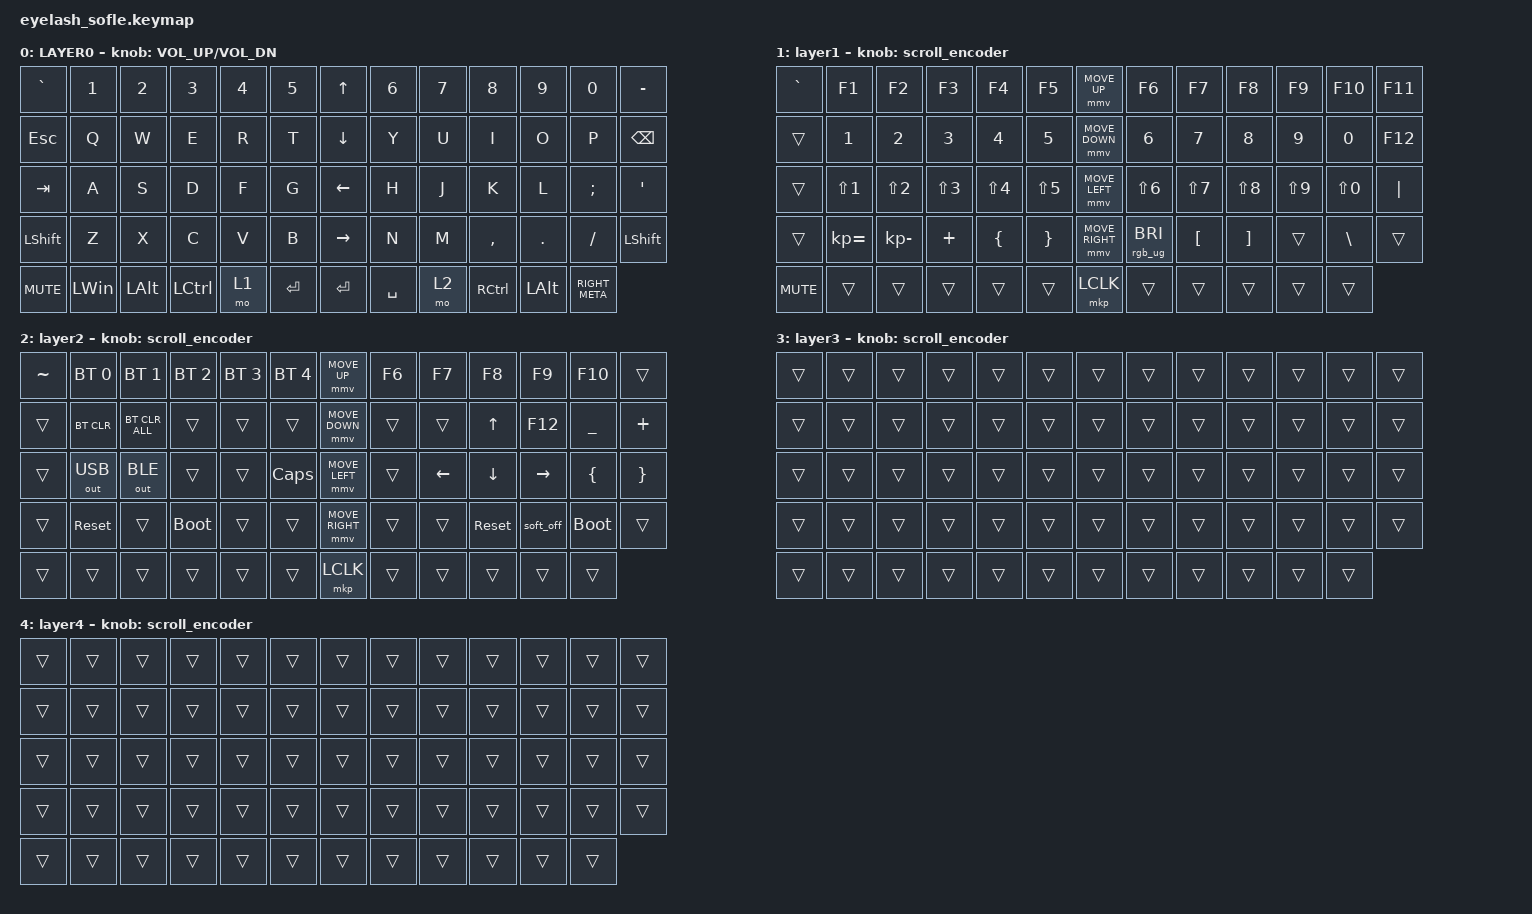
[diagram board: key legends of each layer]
#define ZMK_POINTING_DEFAULT_MOVE_VAL 1200  // 600
#define ZMK_POINTING_DEFAULT_SCRL_VAL 25   // 10

#include <input/processors.dtsi>
#include <zephyr/dt-bindings/input/input-event-codes.h>
#include <behaviors.dtsi>
#include <dt-bindings/zmk/bt.h>
#include <dt-bindings/zmk/keys.h>
#include <dt-bindings/zmk/outputs.h>
#include <dt-bindings/zmk/pointing.h>
#include <dt-bindings/zmk/rgb.h>

&mmv_input_listener { input-processors = <&zip_xy_scaler 2 1>; };

&msc_input_listener { input-processors = <&zip_scroll_scaler 2 1>; };

&msc {
    acceleration-exponent = <1>;      // 0
    time-to-max-speed-ms = <100>;       // 300
    delay-ms = <0>;                   // 0
};

&mmv {
    time-to-max-speed-ms = <500>;
    acceleration-exponent = <1>;
    trigger-period-ms = <16>;
};

&soft_off { hold-time-ms = <2000>; };

/ {
    scroll_encoder: scroll_encoder {
        compatible = "zmk,behavior-sensor-rotate";
        #sensor-binding-cells = <0>;
        bindings = <&msc SCRL_DOWN>, <&msc SCRL_UP>;

        tap-ms = <100>;
    };

    behaviors {
    };

    combos {
        compatible = "zmk,combos";

        softoff {
            bindings = <&soft_off>;
            key-positions = <14 28 40>;
        };
    };

    keymap {
        compatible = "zmk,keymap";

        layer0 {
            bindings = <
&kp GRAVE   &kp N1        &kp N2        &kp N3            &kp N4  &kp N5       &kp UP_ARROW     &kp N6     &kp N7  &kp N8             &kp N9        &kp N0          &kp MINUS
&kp ESCAPE  &kp Q         &kp W         &kp E             &kp R   &kp T        &kp DOWN_ARROW   &kp Y      &kp U   &kp I              &kp O         &kp P           &kp BACKSPACE
&kp TAB     &kp A         &kp S         &kp D             &kp F   &kp G        &kp LEFT_ARROW   &kp H      &kp J   &kp K              &kp L         &kp SEMI        &kp APOS
&kp LSHFT   &kp Z         &kp X         &kp C             &kp V   &kp B        &kp RIGHT_ARROW  &kp N      &kp M   &kp COMMA          &kp DOT       &kp FSLH        &kp LEFT_SHIFT
&kp C_MUTE  &kp LEFT_WIN  &kp LEFT_ALT  &kp LEFT_CONTROL  &mo 1   &kp ENTER    &kp ENTER        &kp SPACE  &mo 2   &kp RIGHT_CONTROL  &kp LEFT_ALT  &kp RIGHT_META
            >;

            sensor-bindings = <&inc_dec_kp C_VOLUME_UP C_VOL_DN>;
            display-name = "LAYER0";
        };

        layer_1 {
            bindings = <
&kp GRAVE   &kp F1            &kp F2            &kp F3            &kp F4            &kp F5              &mmv MOVE_UP     &kp F6            &kp F7            &kp F8             &kp F9            &kp F10           &kp F11
&trans      &kp NUMBER_1      &kp NUMBER_2      &kp NUMBER_3      &kp NUMBER_4      &kp NUMBER_5        &mmv MOVE_DOWN   &kp NUMBER_6      &kp NUMBER_7      &kp NUMBER_8       &kp NUMBER_9      &kp NUMBER_0      &kp F12
&trans      &kp LS(NUMBER_1)  &kp LS(NUMBER_2)  &kp LS(NUMBER_3)  &kp LS(NUMBER_4)  &kp LS(NUMBER_5)    &mmv MOVE_LEFT   &kp LS(NUMBER_6)  &kp LS(NUMBER_7)  &kp LS(NUMBER_8)   &kp LS(NUMBER_9)  &kp LS(NUMBER_0)  &kp PIPE
&trans      &kp KP_EQUAL      &kp KP_SUBTRACT   &kp PLUS          &kp LEFT_BRACE    &kp RIGHT_BRACE     &mmv MOVE_RIGHT  &rgb_ug RGB_BRI   &kp LEFT_BRACKET  &kp RIGHT_BRACKET  &trans            &kp BACKSLASH     &trans
&kp C_MUTE  &trans            &trans            &trans            &trans            &trans              &mkp LCLK        &trans            &trans            &trans             &trans            &trans
            >;

            display-name = "layer1";
            sensor-bindings = <&scroll_encoder>;
        };

        layer_2 {
            bindings = <
&kp TILDE  &bt BT_SEL 0  &bt BT_SEL 1    &bt BT_SEL 2  &bt BT_SEL 3  &bt BT_SEL 4    &mmv MOVE_UP     &kp F6  &kp F7          &kp F8          &kp F9           &kp F10      &trans
&trans     &bt BT_CLR    &bt BT_CLR_ALL  &trans        &trans        &trans          &mmv MOVE_DOWN   &trans  &trans          &kp UP_ARROW    &kp F12          &kp UNDER    &kp PLUS
&trans     &out OUT_USB  &out OUT_BLE    &trans        &trans        &kp CAPSLOCK    &mmv MOVE_LEFT   &trans  &kp LEFT_ARROW  &kp DOWN_ARROW  &kp RIGHT_ARROW  &kp LBRC     &kp RBRC
&trans     &sys_reset    &trans          &bootloader   &trans        &trans          &mmv MOVE_RIGHT  &trans  &trans          &sys_reset      &soft_off        &bootloader  &trans
&trans     &trans        &trans          &trans        &trans        &trans          &mkp LCLK        &trans  &trans          &trans          &trans           &trans
            >;

            display-name = "layer2";
            sensor-bindings = <&scroll_encoder>;
        };

        layer_3 {
            bindings = <
&trans  &trans  &trans  &trans  &trans  &trans    &trans  &trans  &trans  &trans  &trans  &trans  &trans
&trans  &trans  &trans  &trans  &trans  &trans    &trans  &trans  &trans  &trans  &trans  &trans  &trans
&trans  &trans  &trans  &trans  &trans  &trans    &trans  &trans  &trans  &trans  &trans  &trans  &trans
&trans  &trans  &trans  &trans  &trans  &trans    &trans  &trans  &trans  &trans  &trans  &trans  &trans
&trans  &trans  &trans  &trans  &trans  &trans    &trans  &trans  &trans  &trans  &trans  &trans
            >;

            display-name = "layer3";
            sensor-bindings = <&scroll_encoder>;
        };

        layer_4 {
            bindings = <
&trans  &trans  &trans  &trans  &trans  &trans    &trans  &trans  &trans  &trans  &trans  &trans  &trans
&trans  &trans  &trans  &trans  &trans  &trans    &trans  &trans  &trans  &trans  &trans  &trans  &trans
&trans  &trans  &trans  &trans  &trans  &trans    &trans  &trans  &trans  &trans  &trans  &trans  &trans
&trans  &trans  &trans  &trans  &trans  &trans    &trans  &trans  &trans  &trans  &trans  &trans  &trans
&trans  &trans  &trans  &trans  &trans  &trans    &trans  &trans  &trans  &trans  &trans  &trans
            >;

            display-name = "layer4";
            sensor-bindings = <&scroll_encoder>;
        };
    };
};
